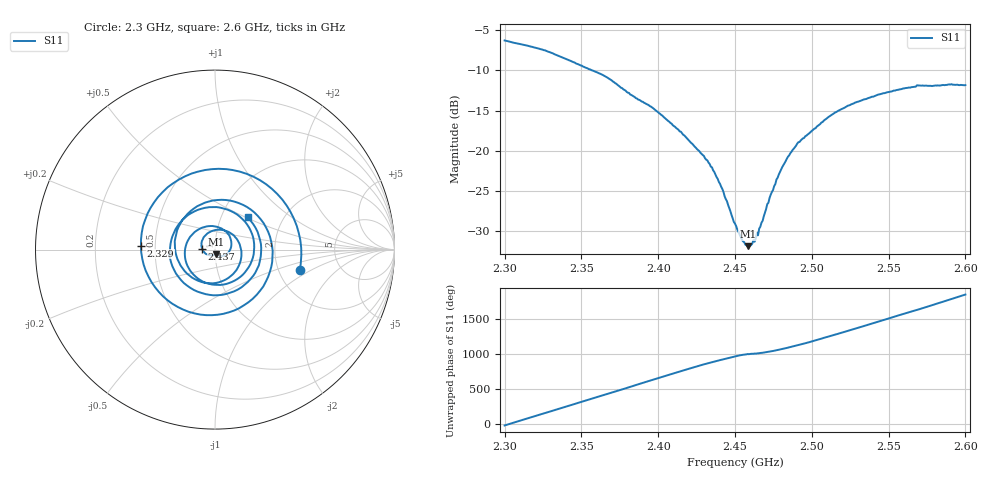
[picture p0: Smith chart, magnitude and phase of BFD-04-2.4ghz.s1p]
! NanoVNA-App
! Date: 2026-05-22 18:17:03
! Start: 2.3GHz Stop: 2.6GHz Points: 401
! S-Parameter data: F S11
# Hz S RI R 50
!  Frequency  S11_Real  S11_Imag
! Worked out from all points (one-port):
!   401 points, 2.3 GHz to 2.6 GHz, reference 50 ohm
!   lowest |S11| = -31.9 dB at 2.458 GHz (marker M1), VSWR 1.05, Z = 50.4 - j2.53 ohm
!   |S11| at or under -10 dB: 2.357 GHz to end of sweep
!   S11 on the Smith chart (normalised r, x): 2.3 GHz: 2.62, -0.79; 2.329 GHz: 0.42, +0.02; 2.437 GHz: 0.87, +0.01; 2.6 GHz: 1.34, +0.51
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2.3e9  0.4721 -0.1153
2.30675e9  0.3993 0.2455
2.31425e9  0.0634 0.4483
2.32175e9  -0.2936 0.3186
2.3285e9  -0.4124 0.0218
2.3375e9  -0.2067 -0.32
2.345e9  0.1055 -0.3399
2.35475e9  0.3203 -0.0369
2.36525e9  0.132 0.2593
2.375e9  -0.1534 0.1984
2.38325e9  -0.2197 -0.0164
2.393e9  -0.0626 -0.1837
2.4035e9  0.1263 -0.1021
2.4125e9  0.1268 0.0508
2.43725e9  -0.0711 0.00354
2.45e9  -0.0138 -0.0324
2.45825e9  0.00446 -0.0251
2.4875e9  0.0905 0.0452
2.504e9  -0.0818 0.1176
2.51525e9  -0.1663 -0.0482
2.525e9  -0.0382 -0.189
2.54225e9  0.2158 0.0495
2.55275e9  0.028 0.2341
2.5625e9  -0.21 0.1292
2.57075e9  -0.2374 -0.0929
2.58125e9  0.0182 -0.2541
2.591e9  0.2446 -0.0872
2.6e9  0.1832 0.1791
